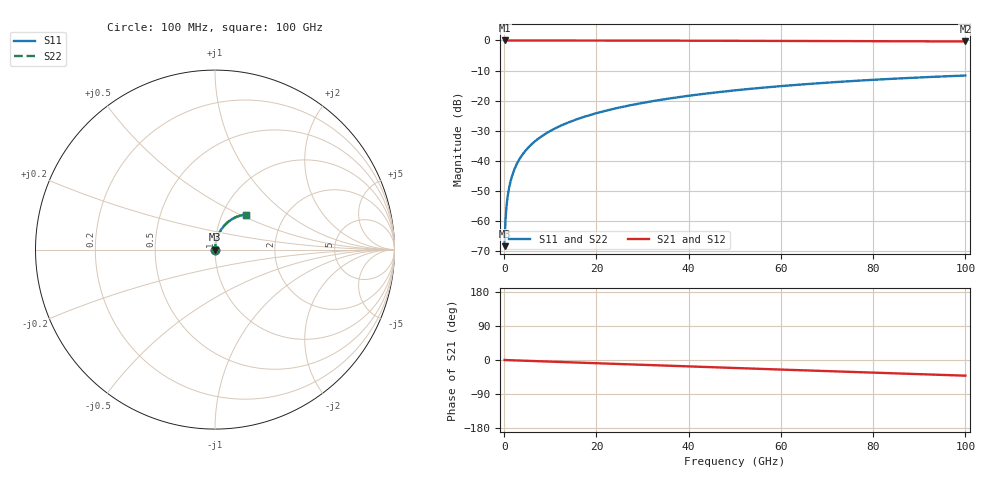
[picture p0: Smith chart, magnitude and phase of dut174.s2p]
! Touchstone file exported from HFSS 2026.1.0
!  File:  C:/ffzhzh/LocalFiles/Ansys_Project_Files/temp_train_TSV_174_1783507010_9504.aedt
!  Generated:  06:38:06 PM Jul  8, 2026
!  Design:  TSV
!  Project:  temp_train_TSV_174_1783507010_9504
! Variables:
!  h_bsmrdl = 2um
!  h_ox = 20um
!  h_rdl = 5um
!  h_sub = 71.31um
!  h_tmrdl = 5um
!  h_tsv = 71.31um
!  h_via = 3um
!  l_bsmrdl = 300um
!  l_sub = 416.12um
!  l_tmrdl = 200um
!  m_sub = 200um
!  pitch = 58.14um
!  r_tsv = 8.06um
!  s_tmrdl = 10um
!  w_bsmrdl = 18um
!  w_sub = 500um
!  w_tmrdl = 12um
!  x_tsv_center1 = 206um
!  x_tsv_center2 = 524um
!  x_tsv_center3 = 736um
!  x_tsv_center4 = 1054um
!  x_tsv_center5 = 1266um
!  x_tsv_center6 = 1584um
# GHz S MA R 50.000000
! Terminal data exported
! Port[1] = TSV1_1_T1
! Port[2] = TSV1_1_T2
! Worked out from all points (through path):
!   1000 points, 100 MHz to 100 GHz, reference 50 ohm
!   highest |S21| = 0.00 dB at 100 MHz (marker M1); lowest = -0.3 dB at 100 GHz (marker M2)
!   group delay of S21, straight-line fit = 1.15 ps
!   lowest |S11| = -68.3 dB at 100 MHz (marker M3), VSWR 1.00, Z = 50 + j0.0349 ohm
!   |S11| at or under -10 dB: start of sweep to end of sweep
!   |S22| runs from -68.3 to -11.6 dB; largest |S21 - S12| = 4.2e-15
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0.1  0.0003831 65.5  0.9998 -0.0  0.9998 -0.0  0.0003831 65.5
! Gamma 0 0 0 0
! Port Impedance 50 0 50 0
0.3  0.001051 79.8  0.9998 -0.1  0.9998 -0.1  0.001051 79.8
0.7  0.002368 83.7  0.9997 -0.3  0.9997 -0.3  0.002368 83.7
0.8  0.002693 84.1  0.9997 -0.4  0.9997 -0.4  0.002693 84.1
1  0.003339 84.6  0.9997 -0.4  0.9997 -0.4  0.003339 84.6
1.3  0.004303 85.1  0.9997 -0.6  0.9997 -0.6  0.004303 85.1
1.7  0.005582 85.5  0.9996 -0.7  0.9996 -0.7  0.005582 85.5
2.3  0.007484 85.7  0.9995 -1.0  0.9995 -1.0  0.007484 85.7
3  0.009686 85.7  0.9994 -1.3  0.9994 -1.3  0.009686 85.7
3.8  0.01219 85.7  0.9994 -1.6  0.9994 -1.6  0.01219 85.7
4.8  0.0153 85.5  0.9992 -2.1  0.9992 -2.1  0.0153 85.5
6  0.01903 85.3  0.9991 -2.6  0.9991 -2.6  0.01903 85.3
8.8  0.0277 84.4  0.9988 -3.8  0.9988 -3.8  0.0277 84.4
12.4  0.03878 83.1  0.9982 -5.3  0.9982 -5.3  0.03878 83.1
16.8  0.05221 81.5  0.9974 -7.2  0.9974 -7.2  0.05221 81.5
24.2  0.07451 78.6  0.9958 -10.3  0.9958 -10.3  0.07451 78.6
33.4  0.1016 74.9  0.9931 -14.2  0.9931 -14.2  0.1016 74.9
41.2  0.1239 71.7  0.9904 -17.5  0.9904 -17.5  0.1239 71.7
50.1  0.1485 68.1  0.9869 -21.2  0.9869 -21.2  0.1485 68.1
66.7  0.1911 61.3  0.9792 -28.0  0.9792 -28.0  0.1911 61.3
83.4  0.2293 54.7  0.9708 -34.8  0.9708 -34.8  0.2293 54.7
100  0.2616 48.1  0.9623 -41.4  0.9623 -41.4  0.2616 48.1
